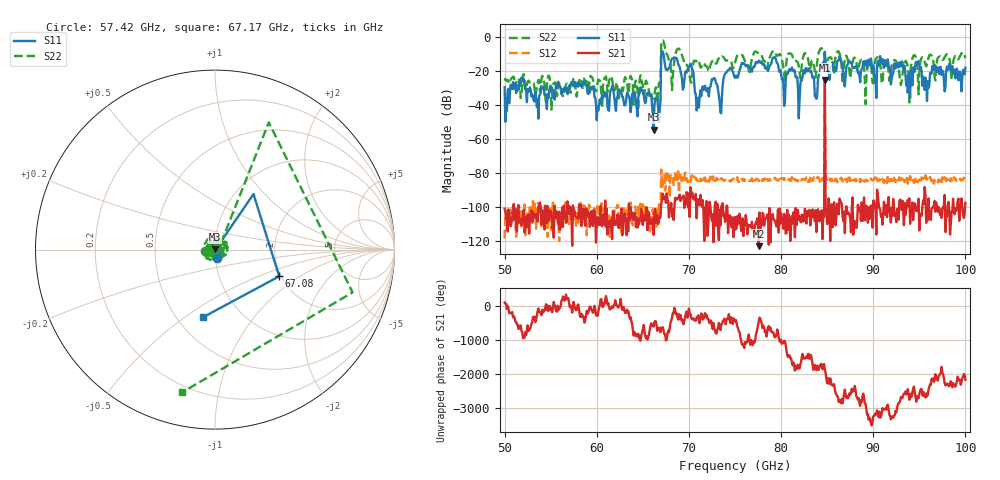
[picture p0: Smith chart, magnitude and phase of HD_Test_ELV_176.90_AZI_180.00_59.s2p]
! 11/25/2026 9:31:39 AM
! C:\ANRITSUVNA\TEMP\TEMP.S2P
! CHANNEL.1
! TR.MEASUREMENT
! RAW.DATA
# HZ S RI R 50.0
! FREQ.HZ  S11RE  S11IM  S21RE  S21IM  S12RE  S12IM  S22RE  S22IM
!; PortSelection: Port_12
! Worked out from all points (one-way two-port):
!   601 points, 50 GHz to 100 GHz, reference 50 ohm
!   highest |S21| = -25.05 dB at 84.75 GHz (marker M1); lowest = -123.0 dB at 77.58 GHz (marker M2)
!   lowest |S11| = -54.3 dB at 66.17 GHz (marker M3), VSWR 1.00, Z = 50.1 + j0.146 ohm
!   |S11| at or under -10 dB: start of sweep to 67 GHz; 67.24 GHz to 84.73 GHz (17.49 GHz wide, 23 % of centre); 84.77 GHz to end of sweep
!   |S22| runs from -42.6 to -1.8 dB; largest |S21 - S12| = 0.047
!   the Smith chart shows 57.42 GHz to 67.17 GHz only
!   S11 on the Smith chart (normalised r, x): 57.42 GHz: 1.02, -0.10; 67.08 GHz: 1.95, -0.69; 67.17 GHz: 0.67, -0.59
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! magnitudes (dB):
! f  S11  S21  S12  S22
! 50 GHz  -29.2  -100.9  -118.4  -25.4
! 57.42 GHz  -26.3  -99.0  -107.6  -25.3
! 58.42 GHz  -27.2  -102.7  -106.9  -29.0
! 60.17 GHz  -43.1  -110.7  -103.9  -24.9
! 61.67 GHz  -28.7  -118.9  -112.2  -24.5
! 66.17 GHz  -54.3  -116.3  -112.7  -35.4
! 66.67 GHz  -42.0  -109.9  -108.3  -32.2
! 67.08 GHz  -8.2  -96.4  -88.8  -1.9
! 67.17 GHz  -8.3  -92.1  -86.7  -1.8
! 70.17 GHz  -15.4  -88.2  -85.6  -25.7
! 70.92 GHz  -40.8  -95.4  -84.5  -13.3
! 75 GHz  -23.7  -105.8  -83.4  -15.0
! 77.58 GHz  -13.7  -123.0  -84.6  -9.4
! 79.33 GHz  -11.5  -108.3  -82.7  -8.6
! 80.25 GHz  -27.6  -112.7  -83.8  -17.6
! 83.42 GHz  -23.8  -101.3  -84.5  -13.6
! 84.75 GHz  -8.5  -25.1  -39.3  -11.9
! 91.67 GHz  -16.6  -94.0  -83.9  -20.4
! 93.75 GHz  -32.6  -95.8  -86.1  -17.2
! 94.83 GHz  -15.0  -102.4  -85.2  -20.3
! 95.83 GHz  -37.4  -104.2  -83.2  -15.9
! 100 GHz  -17.8  -97.4  -83.4  -12.1
